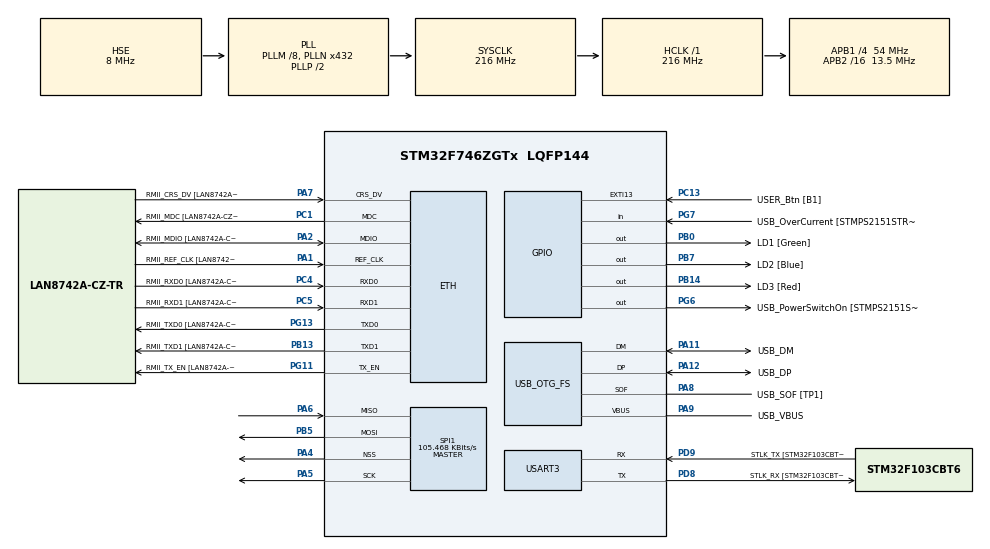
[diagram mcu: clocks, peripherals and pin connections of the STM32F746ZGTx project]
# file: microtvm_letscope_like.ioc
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ETH.MediaInterface=HAL_ETH_RMII_MODE
ETH.PHY_Name=LAN8742A_PHY_ADDRESS
ETH.PHY_Value=0
ETH.PhyAddress=0
Mcu.Family=STM32F7
Mcu.Name=STM32F746ZGTx
Mcu.Package=LQFP144
NVIC.PriorityGroup=NVIC_PRIORITYGROUP_4
PA1.GPIO_Label=RMII_REF_CLK [LAN8742A-CZ-TR_REFCLK0]
PA1.Mode=RMII
PA1.Signal=ETH_REF_CLK
PA10.GPIO_Label=USB_ID
PA10.Signal=USB_OTG_FS_ID
PA11.GPIO_Label=USB_DM
PA11.Mode=Device_Only
PA11.Signal=USB_OTG_FS_DM
PA12.GPIO_Label=USB_DP
PA12.Mode=Device_Only
PA12.Signal=USB_OTG_FS_DP
PA13.GPIO_Label=TMS
PA13.Mode=Serial_Wire
PA13.Signal=SYS_JTMS-SWDIO
PA14.GPIO_Label=TCK
PA14.Mode=Serial_Wire
PA14.Signal=SYS_JTCK-SWCLK
PA2.GPIO_Label=RMII_MDIO [LAN8742A-CZ-TR_MDIO]
PA2.Mode=RMII
PA2.Signal=ETH_MDIO
PA4.Mode=NSS_Signal_Hard_Output
PA4.Signal=SPI1_NSS
PA5.Mode=Full_Duplex_Master
PA5.Signal=SPI1_SCK
PA6.Mode=Full_Duplex_Master
PA6.Signal=SPI1_MISO
PA7.GPIO_Label=RMII_CRS_DV [LAN8742A-CZ-TR_CRS_DV]
PA7.Mode=RMII
PA7.Signal=ETH_CRS_DV
PA8.GPIO_Label=USB_SOF [TP1]
PA8.Mode=Activate_SOF_FS
PA8.Signal=USB_OTG_FS_SOF
PA9.GPIO_Label=USB_VBUS
PA9.Mode=Activate_VBUS
PA9.Signal=USB_OTG_FS_VBUS
PB0.GPIO_Label=LD1 [Green]
PB0.Signal=GPIO_Output
PB13.GPIO_Label=RMII_TXD1 [LAN8742A-CZ-TR_TXD1]
PB13.Mode=RMII
PB13.Signal=ETH_TXD1
PB14.GPIO_Label=LD3 [Red]
PB14.Signal=GPIO_Output
PB3.GPIO_Label=SW0
PB3.Signal=SYS_JTDO-SWO
PB5.Mode=Full_Duplex_Master
PB5.Signal=SPI1_MOSI
PB7.GPIO_Label=LD2 [Blue]
PB7.Signal=GPIO_Output
PC1.GPIO_Label=RMII_MDC [LAN8742A-CZ-TR_MDC]
PC1.Mode=RMII
PC1.Signal=ETH_MDC
PC13.GPIO_Label=USER_Btn [B1]
PC13.Signal=GPXTI13
PC14/OSC32_IN.Mode=LSE-External-Oscillator
PC14/OSC32_IN.Signal=RCC_OSC32_IN
PC15/OSC32_OUT.Mode=LSE-External-Oscillator
PC15/OSC32_OUT.Signal=RCC_OSC32_OUT
PC4.GPIO_Label=RMII_RXD0 [LAN8742A-CZ-TR_RXD0]
PC4.Mode=RMII
PC4.Signal=ETH_RXD0
PC5.GPIO_Label=RMII_RXD1 [LAN8742A-CZ-TR_RXD1]
PC5.Mode=RMII
PC5.Signal=ETH_RXD1
PD8.GPIO_Label=STLK_RX [STM32F103CBT6_PA3]
PD8.GPIO_PuPd=GPIO_PULLUP
PD8.Mode=Asynchronous
PD8.Signal=USART3_TX
PD9.GPIO_Label=STLK_TX [STM32F103CBT6_PA2]
PD9.GPIO_PuPd=GPIO_PULLUP
PD9.Mode=Asynchronous
PD9.Signal=USART3_RX
PG11.GPIO_Label=RMII_TX_EN [LAN8742A-CZ-TR_TXEN]
PG11.Mode=RMII
PG11.Signal=ETH_TX_EN
PG13.GPIO_Label=RMII_TXD0 [LAN8742A-CZ-TR_TXD0]
PG13.Mode=RMII
PG13.Signal=ETH_TXD0
PG6.GPIO_Label=USB_PowerSwitchOn [STMPS2151STR_EN]
PG6.Signal=GPIO_Output
PG7.GPIO_Label=USB_OverCurrent [STMPS2151STR_FAULT]
PG7.Signal=GPIO_Input
PH0/OSC_IN.GPIO_Label=MCO [STM32F103CBT6_PA8]
PH0/OSC_IN.Mode=HSE-External-Clock-Source
PH0/OSC_IN.Signal=RCC_OSC_IN
PH1/OSC_OUT.Mode=HSE-External-Clock-Source
PH1/OSC_OUT.Signal=RCC_OSC_OUT
ProjectManager.HeapSize=0x200
ProjectManager.StackSize=0x400
ProjectManager.TargetToolchain=STM32CubeIDE
RCC.48MHZClocksFreq_Value=24000000
RCC.AHBFreq_Value=216000000
RCC.APB1CLKDivider=RCC_HCLK_DIV4
RCC.APB1Freq_Value=54000000
RCC.APB1TimFreq_Value=108000000
RCC.APB2CLKDivider=RCC_HCLK_DIV16
RCC.APB2Freq_Value=13500000
RCC.APB2TimFreq_Value=27000000
RCC.CortexFreq_Value=216000000
RCC.HCLKFreq_Value=216000000
RCC.HSE_VALUE=8000000
RCC.HSI_VALUE=16000000
RCC.PLLM=8
RCC.PLLMUL=RCC_PLL_MUL9
RCC.PLLN=432
RCC.PLLQ=9
RCC.PRESCALERUSB=RCC_USBCLKSOURCE_PLL_DIV1_5
RCC.SYSCLKFreq_VALUE=216000000
RCC.SYSCLKSource=RCC_SYSCLKSOURCE_PLLCLK
RCC.SYSCLKSourceVirtual=RCC_SYSCLKSOURCE_PLLCLK
RCC.USBFreq_Value=48000000
RCC.VCOOutputFreq_Value=432000000
SPI1.BaudRatePrescaler=SPI_BAUDRATEPRESCALER_128
SPI1.CalculateBaudRate=105.468 KBits/s
SPI1.DataSize=SPI_DATASIZE_8BIT
SPI1.Direction=SPI_DIRECTION_2LINES
SPI1.Mode=SPI_MODE_MASTER
SPI1.VirtualNSS=VM_NSSHARD
SPI1.VirtualType=VM_MASTER
USART3.VirtualMode-Asynchronous=VM_ASYNC
USB_OTG_FS.VirtualMode=Device_Only
board=NUCLEO-F746ZG

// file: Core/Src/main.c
/* USER CODE BEGIN Header */
/**
  ******************************************************************************
  * @file           : main.c
  * @brief          : Main program body
  ******************************************************************************
  * @attention
  *
  * Copyright (c) 2023 STMicroelectronics.
  * All rights reserved.
  *
  * This software is licensed under terms that can be found in the LICENSE file
  * in the root directory of this software component.
  * If no LICENSE file comes with this software, it is provided AS-IS.
  *
  ******************************************************************************
  */
/* USER CODE END Header */
#include "main.h"
#include "string.h"

/* USER CODE BEGIN Includes */
#include <stdio.h>
#include <string.h>
#include <stdarg.h>
#include "tvmgen_default.h"
#include "dummy_input.h"
#include "expected_output.h"
/* USER CODE END Includes */

#if defined ( __ICCARM__ ) /*!< IAR Compiler */
#pragma location=0x2004c000
ETH_DMADescTypeDef  DMARxDscrTab[ETH_RX_DESC_CNT]; /* Ethernet Rx DMA Descriptors */
#pragma location=0x2004c0a0
ETH_DMADescTypeDef  DMATxDscrTab[ETH_TX_DESC_CNT]; /* Ethernet Tx DMA Descriptors */

#elif defined ( __CC_ARM )  /* MDK ARM Compiler */

__attribute__((at(0x2004c000))) ETH_DMADescTypeDef  DMARxDscrTab[ETH_RX_DESC_CNT]; /* Ethernet Rx DMA Descriptors */
__attribute__((at(0x2004c0a0))) ETH_DMADescTypeDef  DMATxDscrTab[ETH_TX_DESC_CNT]; /* Ethernet Tx DMA Descriptors */

#elif defined ( __GNUC__ ) /* GNU Compiler */
ETH_DMADescTypeDef DMARxDscrTab[ETH_RX_DESC_CNT] __attribute__((section(".RxDecripSection"))); /* Ethernet Rx DMA Descriptors */
ETH_DMADescTypeDef DMATxDscrTab[ETH_TX_DESC_CNT] __attribute__((section(".TxDecripSection")));   /* Ethernet Tx DMA Descriptors */

#endif

ETH_TxPacketConfig TxConfig;

ETH_HandleTypeDef heth;

SPI_HandleTypeDef hspi1;

UART_HandleTypeDef huart3;

PCD_HandleTypeDef hpcd_USB_OTG_FS;

void SystemClock_Config(void);
static void MX_GPIO_Init(void);
static void MX_ETH_Init(void);
static void MX_USART3_UART_Init(void);
static void MX_USB_OTG_FS_PCD_Init(void);
static void MX_SPI1_Init(void);

/* USER CODE BEGIN 0 */
void TVMLogf(const char* msg, ...) {
  char buffer[128];
  int size;
  va_list args;
  va_start(args, msg);
  va_end(args);
}
/* USER CODE END 0 */

int main(void)
{

  /* MCU Configuration--------------------------------------------------------*/

  /* Reset of all peripherals, Initializes the Flash interface and the Systick. */
  HAL_Init();

  /* Configure the system clock */
  SystemClock_Config();

  /* Initialize all configured peripherals */
  MX_GPIO_Init();
  MX_ETH_Init();
  MX_USART3_UART_Init();
  MX_USB_OTG_FS_PCD_Init();
  MX_SPI1_Init();
  /* USER CODE BEGIN 2 */

  TVMPlatformInitialize();
  int8_t output[1];
  int8_t input[DUMMY_INPUT_LEN];

  int8_t sensor_data[3];
  int8_t reference_speed, steepness;

  struct tvmgen_default_inputs inputs = {
  .serving_default_input_1_0 = (void*)&dummy_input,
  };
  struct tvmgen_default_outputs outputs = {
  .StatefulPartitionedCall_0 = (void*)&output,
  };
  uint32_t timer_val;

  // Test run
  timer_val = HAL_GetTick();
  tvmgen_default_run(&inputs, &outputs);
  timer_val = HAL_GetTick() - timer_val;
  timer_val = 0;

  // Set the correct input
  // Requires reading data from sensors, and steepness + reference_speed
  inputs.serving_default_input_1_0 = (void*)&input;
  /* USER CODE END 2 */

  /* Infinite loop */
  /* USER CODE BEGIN WHILE */
  while (1)
  {
	  HAL_SPI_Receive(&hspi1, (uint8_t*) sensor_data, 3, HAL_MAX_DELAY); //assuming 3 values read from sensor
	  memcpy(input, sensor_data, 3);
	  //input[4] = steepness;
	  //input[5] = reference_speed;

	  tvmgen_default_run(&inputs, &outputs);
    /* USER CODE END WHILE */

  }
}

void SystemClock_Config(void)
{
  RCC_OscInitTypeDef RCC_OscInitStruct = {0};
  RCC_ClkInitTypeDef RCC_ClkInitStruct = {0};

  /** Configure LSE Drive Capability
  */
  HAL_PWR_EnableBkUpAccess();

  /** Configure the main internal regulator output voltage
  */
  __HAL_RCC_PWR_CLK_ENABLE();
  __HAL_PWR_VOLTAGESCALING_CONFIG(PWR_REGULATOR_VOLTAGE_SCALE1);

  /** Initializes the RCC Oscillators according to the specified parameters
  * in the RCC_OscInitTypeDef structure.
  */
  RCC_OscInitStruct.OscillatorType = RCC_OSCILLATORTYPE_HSE;
  RCC_OscInitStruct.HSEState = RCC_HSE_BYPASS;
  RCC_OscInitStruct.PLL.PLLState = RCC_PLL_ON;
  RCC_OscInitStruct.PLL.PLLSource = RCC_PLLSOURCE_HSE;
  RCC_OscInitStruct.PLL.PLLM = 8;
  RCC_OscInitStruct.PLL.PLLN = 432;
  RCC_OscInitStruct.PLL.PLLP = RCC_PLLP_DIV2;
  RCC_OscInitStruct.PLL.PLLQ = 9;
  if (HAL_RCC_OscConfig(&RCC_OscInitStruct) != HAL_OK)
  {
    Error_Handler();
  }

  /** Activate the Over-Drive mode
  */
  if (HAL_PWREx_EnableOverDrive() != HAL_OK)
  {
    Error_Handler();
  }

  /** Initializes the CPU, AHB and APB buses clocks
  */
  RCC_ClkInitStruct.ClockType = RCC_CLOCKTYPE_HCLK|RCC_CLOCKTYPE_SYSCLK
                              |RCC_CLOCKTYPE_PCLK1|RCC_CLOCKTYPE_PCLK2;
  RCC_ClkInitStruct.SYSCLKSource = RCC_SYSCLKSOURCE_PLLCLK;
  RCC_ClkInitStruct.AHBCLKDivider = RCC_SYSCLK_DIV1;
  RCC_ClkInitStruct.APB1CLKDivider = RCC_HCLK_DIV4;
  RCC_ClkInitStruct.APB2CLKDivider = RCC_HCLK_DIV16;

  if (HAL_RCC_ClockConfig(&RCC_ClkInitStruct, FLASH_LATENCY_7) != HAL_OK)
  {
    Error_Handler();
  }
}

static void MX_ETH_Init(void)
{

   static uint8_t MACAddr[6];

  heth.Instance = ETH;
  MACAddr[0] = 0x00;
  MACAddr[1] = 0x80;
  MACAddr[2] = 0xE1;
  MACAddr[3] = 0x00;
  MACAddr[4] = 0x00;
  MACAddr[5] = 0x00;
  heth.Init.MACAddr = &MACAddr[0];
  heth.Init.MediaInterface = HAL_ETH_RMII_MODE;
  heth.Init.TxDesc = DMATxDscrTab;
  heth.Init.RxDesc = DMARxDscrTab;
  heth.Init.RxBuffLen = 1524;

  if (HAL_ETH_Init(&heth) != HAL_OK)
  {
    Error_Handler();
  }

  memset(&TxConfig, 0 , sizeof(ETH_TxPacketConfig));
  TxConfig.Attributes = ETH_TX_PACKETS_FEATURES_CSUM | ETH_TX_PACKETS_FEATURES_CRCPAD;
  TxConfig.ChecksumCtrl = ETH_CHECKSUM_IPHDR_PAYLOAD_INSERT_PHDR_CALC;
  TxConfig.CRCPadCtrl = ETH_CRC_PAD_INSERT;

}

static void MX_SPI1_Init(void)
{

  /* SPI1 parameter configuration*/
  hspi1.Instance = SPI1;
  hspi1.Init.Mode = SPI_MODE_MASTER;
  hspi1.Init.Direction = SPI_DIRECTION_2LINES;
  hspi1.Init.DataSize = SPI_DATASIZE_8BIT;
  hspi1.Init.CLKPolarity = SPI_POLARITY_LOW;
  hspi1.Init.CLKPhase = SPI_PHASE_1EDGE;
  hspi1.Init.NSS = SPI_NSS_HARD_OUTPUT;
  hspi1.Init.BaudRatePrescaler = SPI_BAUDRATEPRESCALER_128;
  hspi1.Init.FirstBit = SPI_FIRSTBIT_MSB;
  hspi1.Init.TIMode = SPI_TIMODE_DISABLE;
  hspi1.Init.CRCCalculation = SPI_CRCCALCULATION_DISABLE;
  hspi1.Init.CRCPolynomial = 7;
  hspi1.Init.CRCLength = SPI_CRC_LENGTH_DATASIZE;
  hspi1.Init.NSSPMode = SPI_NSS_PULSE_ENABLE;
  if (HAL_SPI_Init(&hspi1) != HAL_OK)
  {
    Error_Handler();
  }

}

static void MX_USART3_UART_Init(void)
{

  huart3.Instance = USART3;
  huart3.Init.BaudRate = 115200;
  huart3.Init.WordLength = UART_WORDLENGTH_8B;
  huart3.Init.StopBits = UART_STOPBITS_1;
  huart3.Init.Parity = UART_PARITY_NONE;
  huart3.Init.Mode = UART_MODE_TX_RX;
  huart3.Init.HwFlowCtl = UART_HWCONTROL_NONE;
  huart3.Init.OverSampling = UART_OVERSAMPLING_16;
  huart3.Init.OneBitSampling = UART_ONE_BIT_SAMPLE_DISABLE;
  huart3.AdvancedInit.AdvFeatureInit = UART_ADVFEATURE_NO_INIT;
  if (HAL_UART_Init(&huart3) != HAL_OK)
  {
    Error_Handler();
  }

}

static void MX_USB_OTG_FS_PCD_Init(void)
{

  hpcd_USB_OTG_FS.Instance = USB_OTG_FS;
  hpcd_USB_OTG_FS.Init.dev_endpoints = 6;
  hpcd_USB_OTG_FS.Init.speed = PCD_SPEED_FULL;
  hpcd_USB_OTG_FS.Init.dma_enable = DISABLE;
  hpcd_USB_OTG_FS.Init.phy_itface = PCD_PHY_EMBEDDED;
  hpcd_USB_OTG_FS.Init.Sof_enable = ENABLE;
  hpcd_USB_OTG_FS.Init.low_power_enable = DISABLE;
  hpcd_USB_OTG_FS.Init.lpm_enable = DISABLE;
  hpcd_USB_OTG_FS.Init.vbus_sensing_enable = ENABLE;
  hpcd_USB_OTG_FS.Init.use_dedicated_ep1 = DISABLE;
  if (HAL_PCD_Init(&hpcd_USB_OTG_FS) != HAL_OK)
  {
    Error_Handler();
  }

}

static void MX_GPIO_Init(void)
{
  GPIO_InitTypeDef GPIO_InitStruct = {0};

  /* GPIO Ports Clock Enable */
  __HAL_RCC_GPIOC_CLK_ENABLE();
  __HAL_RCC_GPIOH_CLK_ENABLE();
  __HAL_RCC_GPIOA_CLK_ENABLE();
  __HAL_RCC_GPIOB_CLK_ENABLE();
  __HAL_RCC_GPIOD_CLK_ENABLE();
  __HAL_RCC_GPIOG_CLK_ENABLE();

  /*Configure GPIO pin Output Level */
  HAL_GPIO_WritePin(GPIOB, LD1_Pin|LD3_Pin|LD2_Pin, GPIO_PIN_RESET);

  /*Configure GPIO pin Output Level */
  HAL_GPIO_WritePin(USB_PowerSwitchOn_GPIO_Port, USB_PowerSwitchOn_Pin, GPIO_PIN_RESET);

  /*Configure GPIO pin : USER_Btn_Pin */
  GPIO_InitStruct.Pin = USER_Btn_Pin;
  GPIO_InitStruct.Mode = GPIO_MODE_IT_RISING;
  GPIO_InitStruct.Pull = GPIO_NOPULL;
  HAL_GPIO_Init(USER_Btn_GPIO_Port, &GPIO_InitStruct);

  /*Configure GPIO pins : LD1_Pin LD3_Pin LD2_Pin */
  GPIO_InitStruct.Pin = LD1_Pin|LD3_Pin|LD2_Pin;
  GPIO_InitStruct.Mode = GPIO_MODE_OUTPUT_PP;
  GPIO_InitStruct.Pull = GPIO_NOPULL;
  GPIO_InitStruct.Speed = GPIO_SPEED_FREQ_LOW;
  HAL_GPIO_Init(GPIOB, &GPIO_InitStruct);

  /*Configure GPIO pin : USB_PowerSwitchOn_Pin */
  GPIO_InitStruct.Pin = USB_PowerSwitchOn_Pin;
  GPIO_InitStruct.Mode = GPIO_MODE_OUTPUT_PP;
  GPIO_InitStruct.Pull = GPIO_NOPULL;
  GPIO_InitStruct.Speed = GPIO_SPEED_FREQ_LOW;
  HAL_GPIO_Init(USB_PowerSwitchOn_GPIO_Port, &GPIO_InitStruct);

  /*Configure GPIO pin : USB_OverCurrent_Pin */
  GPIO_InitStruct.Pin = USB_OverCurrent_Pin;
  GPIO_InitStruct.Mode = GPIO_MODE_INPUT;
  GPIO_InitStruct.Pull = GPIO_NOPULL;
  HAL_GPIO_Init(USB_OverCurrent_GPIO_Port, &GPIO_InitStruct);

}

void Error_Handler(void)
{
  __disable_irq();
  while (1)
  {
  }
}
